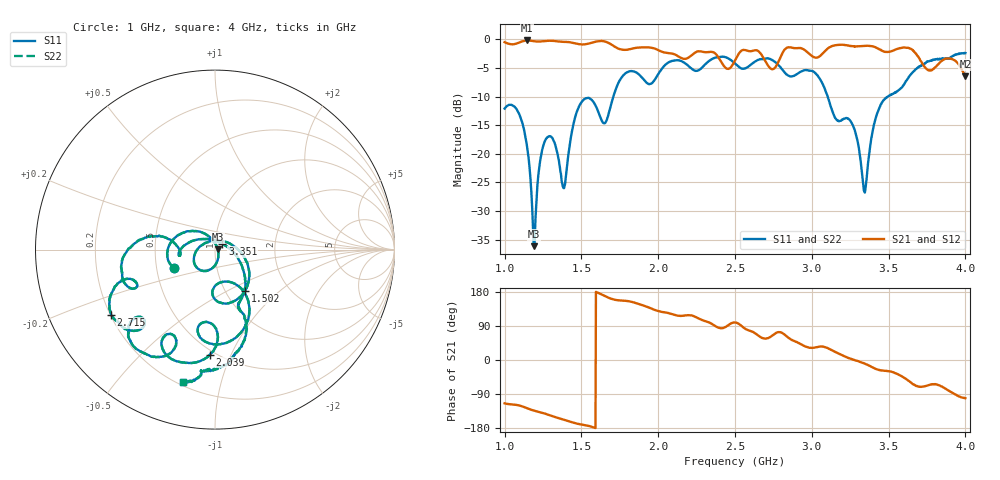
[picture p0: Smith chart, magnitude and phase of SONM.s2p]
# MHz S MA R 50
!  freq  S11  S21  S12  S22
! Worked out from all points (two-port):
!   1000 points, 1 GHz to 4 GHz, reference 50 ohm
!   highest |S21| = -0.19 dB at 1.147 GHz (marker M1); lowest = -6.4 dB at 4 GHz (marker M2)
!   |S21| within 3 dB of the highest: start of sweep to 2.145 GHz; 3.032 GHz to 3.697 GHz (665.4 MHz wide, 19.8 % of centre)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
!   lowest |S11| = -36.1 dB at 1.192 GHz (marker M3), VSWR 1.03, Z = 51.6 + j0.27 ohm
!   |S11| at or under -10 dB: start of sweep to 1.708 GHz; 3.103 GHz to 3.495 GHz (391.9 MHz wide, 11.9 % of centre)
!   |S22| runs from -36.2 to -2.4 dB; largest |S21 - S12| = 0.011
!   S11 on the Smith chart (normalised r, x): 1 GHz: 0.62, -0.13; 1.502 GHz: 1.23, -0.62; 2.039 GHz: 0.47, -0.83; 2.715 GHz: 0.20, -0.28; 3.351 GHz: 1.08, +0.07; 4 GHz: 0.22, -0.77
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1000  0.2485 -156.3  0.9447 -114.2  0.9459 -114.3  0.2488 -156.3
1147.147  0.1132 125.3  0.9782 -127.4  0.9777 -127.4  0.1124 125.3
1192.192  0.01561 9.7  0.9632 -133.8  0.9623 -133.8  0.01549 8.1
1261.261  0.1285 -112.1  0.9658 -141.2  0.9667 -141.2  0.1289 -112.1
1384.384  0.05013 94.5  0.9504 -157.4  0.9513 -157.4  0.04956 94.8
1501.502  0.2845 -54.0  0.9033 -170.3  0.9044 -170.3  0.2847 -54.1
1648.649  0.185 -77.3  0.9608 169.8  0.9618 169.6  0.1843 -77.2
1780.781  0.4968 -75.2  0.8096 156.4  0.8095 156.3  0.4969 -75.2
2000  0.4966 -88.4  0.8056 129.1  0.8054 129.1  0.4956 -88.2
2039.039  0.5859 -92.9  0.768 125.7  0.7686 125.7  0.5865 -92.6
2399.399  0.701 -125.2  0.6717 84.3  0.672 84.3  0.7011 -125.1
2501.502  0.6149 -139.5  0.661 99.2  0.6609 99.2  0.6149 -139.3
2624.625  0.6319 -134.4  0.8007 72.1  0.8008 72.1  0.6321 -134.3
2714.715  0.6836 -147.9  0.5909 57.6  0.5921 57.6  0.6848 -147.6
2834.835  0.4933 -160.4  0.8406 63.0  0.8422 63.1  0.495 -160.4
3000  0.531 -169.8  0.7167 32.2  0.7169 32.2  0.5326 -169.5
3264.264  0.1814 175.5  0.8731 1.8  0.8725 2.1  0.1818 175.6
3351.351  0.05223 37.9  0.8782 -10.7  0.8783 -10.9  0.05261 38.7
3411.411  0.1951 -36.0  0.8556 -22.5  0.8569 -22.7  0.1945 -35.8
3501.502  0.3216 -64.6  0.7771 -29.7  0.7782 -29.7  0.3222 -64.8
3654.655  0.5119 -70.6  0.8102 -62.5  0.8121 -62.1  0.5136 -70.3
4000  0.76 -103.4  0.4763 -100.8  0.4778 -100.8  0.7614 -103.5
